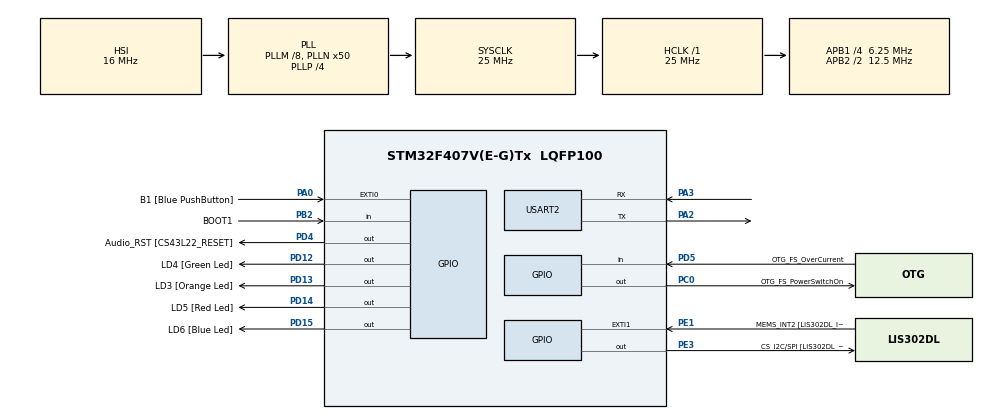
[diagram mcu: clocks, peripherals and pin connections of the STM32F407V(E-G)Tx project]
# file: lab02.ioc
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Mcu.Family=STM32F4
Mcu.Name=STM32F407V(E-G)Tx
Mcu.Package=LQFP100
NVIC.PriorityGroup=NVIC_PRIORITYGROUP_4
NVIC.TIM7_IRQn=true\:0\:0\:false\:false\:true\:false\:true\:true
NVIC.TimeBase=TIM7_IRQn
NVIC.TimeBaseIP=TIM7
PA0-WKUP.GPIO_Label=B1 [Blue PushButton]
PA0-WKUP.Signal=GPXTI0
PA10.GPIO_Label=OTG_FS_ID
PA10.GPIO_Mode=GPIO_MODE_AF_PP
PA10.GPIO_PuPd=GPIO_NOPULL
PA10.GPIO_Speed=GPIO_SPEED_FREQ_LOW
PA10.Signal=USB_OTG_FS_ID
PA11.GPIO_Label=OTG_FS_DM
PA11.GPIO_Mode=GPIO_MODE_AF_PP
PA11.GPIO_PuPd=GPIO_NOPULL
PA11.GPIO_Speed=GPIO_SPEED_FREQ_LOW
PA11.Signal=USB_OTG_FS_DM
PA12.GPIO_Label=OTG_FS_DP
PA12.GPIO_Mode=GPIO_MODE_AF_PP
PA12.GPIO_PuPd=GPIO_NOPULL
PA12.GPIO_Speed=GPIO_SPEED_FREQ_LOW
PA12.Signal=USB_OTG_FS_DP
PA13.GPIO_Label=SWDIO
PA13.Mode=Serial_Wire
PA13.Signal=SYS_JTMS-SWDIO
PA14.GPIO_Label=SWCLK
PA14.Mode=Serial_Wire
PA14.Signal=SYS_JTCK-SWCLK
PA2.Mode=Asynchronous
PA2.Signal=USART2_TX
PA3.Mode=Asynchronous
PA3.Signal=USART2_RX
PA4.GPIO_Label=I2S3_WS [CS43L22_LRCK]
PA4.GPIO_Mode=GPIO_MODE_AF_PP
PA4.GPIO_PuPd=GPIO_NOPULL
PA4.GPIO_Speed=GPIO_SPEED_FREQ_LOW
PA4.Signal=I2S3_WS
PA5.GPIO_Label=SPI1_SCK [LIS302DL_SCL/SPC]
PA5.GPIO_Mode=GPIO_MODE_AF_PP
PA5.GPIO_PuPd=GPIO_NOPULL
PA5.GPIO_Speed=GPIO_SPEED_FREQ_LOW
PA5.Signal=SPI1_SCK
PA6.GPIO_Label=SPI1_MISO [LIS302DL_SDO]
PA6.GPIO_Mode=GPIO_MODE_AF_PP
PA6.GPIO_PuPd=GPIO_NOPULL
PA6.GPIO_Speed=GPIO_SPEED_FREQ_LOW
PA6.Signal=SPI1_MISO
PA7.GPIO_Label=SPI1_MOSI [LIS302DL_SDA/SDI/SDO]
PA7.GPIO_Mode=GPIO_MODE_AF_PP
PA7.GPIO_PuPd=GPIO_NOPULL
PA7.GPIO_Speed=GPIO_SPEED_FREQ_LOW
PA7.Signal=SPI1_MOSI
PA9.GPIO_Label=VBUS_FS
PA9.GPIO_Mode=GPIO_MODE_INPUT
PA9.GPIO_PuPd=GPIO_NOPULL
PA9.Signal=USB_OTG_FS_VBUS
PB10.GPIO_Label=CLK_IN [MP45DT02_CLK]
PB10.GPIO_Mode=GPIO_MODE_AF_PP
PB10.GPIO_PuPd=GPIO_NOPULL
PB10.GPIO_Speed=GPIO_SPEED_FREQ_LOW
PB10.Signal=I2S2_CK
PB2.GPIO_Label=BOOT1
PB2.GPIO_Mode=GPIO_MODE_INPUT
PB2.GPIO_PuPd=GPIO_NOPULL
PB2.Signal=GPIO_Input
PB3.GPIO_Label=SWO
PB3.Signal=SYS_JTDO-SWO
PB6.GPIO_Label=Audio_SCL [CS43L22_SCL]
PB6.GPIO_Mode=GPIO_MODE_AF_OD
PB6.GPIO_PuPd=GPIO_NOPULL
PB6.GPIO_Speed=GPIO_SPEED_FREQ_LOW
PB6.Signal=I2C1_SCL
PB9.GPIO_Label=Audio_SDA [CS43L22_SDA]
PB9.GPIO_Mode=GPIO_MODE_AF_OD
PB9.GPIO_PuPd=GPIO_NOPULL
PB9.GPIO_Speed=GPIO_SPEED_FREQ_LOW
PB9.Signal=I2C1_SDA
PC0.GPIO_Label=OTG_FS_PowerSwitchOn
PC0.GPIO_PuPd=GPIO_NOPULL
PC0.GPIO_Speed=GPIO_SPEED_FREQ_LOW
PC0.PinState=GPIO_PIN_SET
PC0.Signal=GPIO_Output
PC10.GPIO_Label=I2S3_SCK [CS43L22_SCLK]
PC10.GPIO_Mode=GPIO_MODE_AF_PP
PC10.GPIO_PuPd=GPIO_NOPULL
PC10.GPIO_Speed=GPIO_SPEED_FREQ_LOW
PC10.Signal=I2S3_CK
PC12.GPIO_Label=I2S3_SD [CS43L22_SDIN]
PC12.GPIO_Mode=GPIO_MODE_AF_PP
PC12.GPIO_PuPd=GPIO_NOPULL
PC12.GPIO_Speed=GPIO_SPEED_FREQ_LOW
PC12.Signal=I2S3_SD
PC14-OSC32_IN.GPIO_Label=PC14-OSC32_IN
PC14-OSC32_IN.Signal=RCC_OSC32_IN
PC15-OSC32_OUT.GPIO_Label=PC15-OSC32_OUT
PC15-OSC32_OUT.Signal=RCC_OSC32_OUT
PC3.GPIO_Label=PDM_OUT [MP45DT02_DOUT]
PC3.GPIO_Mode=GPIO_MODE_AF_PP
PC3.GPIO_PuPd=GPIO_NOPULL
PC3.GPIO_Speed=GPIO_SPEED_FREQ_LOW
PC3.Signal=I2S2_SD
PC7.GPIO_Label=I2S3_MCK [CS43L22_MCLK]
PC7.GPIO_Mode=GPIO_MODE_AF_PP
PC7.GPIO_PuPd=GPIO_NOPULL
PC7.GPIO_Speed=GPIO_SPEED_FREQ_LOW
PC7.Signal=I2S3_MCK
PD12.GPIO_Label=LD4 [Green Led]
PD12.GPIO_PuPd=GPIO_NOPULL
PD12.GPIO_Speed=GPIO_SPEED_FREQ_LOW
PD12.Signal=GPIO_Output
PD13.GPIO_Label=LD3 [Orange Led]
PD13.GPIO_PuPd=GPIO_NOPULL
PD13.GPIO_Speed=GPIO_SPEED_FREQ_LOW
PD13.Signal=GPIO_Output
PD14.GPIO_Label=LD5 [Red Led]
PD14.GPIO_PuPd=GPIO_NOPULL
PD14.GPIO_Speed=GPIO_SPEED_FREQ_LOW
PD14.Signal=GPIO_Output
PD15.GPIO_Label=LD6 [Blue Led]
PD15.GPIO_PuPd=GPIO_NOPULL
PD15.GPIO_Speed=GPIO_SPEED_FREQ_LOW
PD15.Signal=GPIO_Output
PD4.GPIO_Label=Audio_RST [CS43L22_RESET]
PD4.GPIO_PuPd=GPIO_NOPULL
PD4.GPIO_Speed=GPIO_SPEED_FREQ_LOW
PD4.Signal=GPIO_Output
PD5.GPIO_Label=OTG_FS_OverCurrent
PD5.GPIO_Mode=GPIO_MODE_INPUT
PD5.GPIO_PuPd=GPIO_NOPULL
PD5.Signal=GPIO_Input
PE1.GPIO_Label=MEMS_INT2 [LIS302DL_INT2]
PE1.GPIO_ModeDefaultEXTI=GPIO_MODE_EVT_RISING
PE1.GPIO_PuPd=GPIO_NOPULL
PE1.Signal=GPXTI1
PE3.GPIO_Label=CS_I2C/SPI [LIS302DL_CS_I2C/SPI]
PE3.GPIO_PuPd=GPIO_NOPULL
PE3.GPIO_Speed=GPIO_SPEED_FREQ_LOW
PE3.Signal=GPIO_Output
PH0-OSC_IN.GPIO_Label=PH0-OSC_IN
PH0-OSC_IN.Signal=RCC_OSC_IN
PH1-OSC_OUT.GPIO_Label=PH1-OSC_OUT
PH1-OSC_OUT.Signal=RCC_OSC_OUT
ProjectManager.HeapSize=0x200
ProjectManager.StackSize=0x400
ProjectManager.TargetToolchain=STM32CubeIDE
RCC.48MHZClocksFreq_Value=14285714.285714285
RCC.AHBFreq_Value=25000000
RCC.APB1CLKDivider=RCC_HCLK_DIV4
RCC.APB1Freq_Value=6250000
RCC.APB1TimFreq_Value=12500000
RCC.APB2CLKDivider=RCC_HCLK_DIV2
RCC.APB2Freq_Value=12500000
RCC.APB2TimFreq_Value=25000000
RCC.CortexFreq_Value=25000000
RCC.HCLKFreq_Value=25000000
RCC.HSE_VALUE=8000000
RCC.HSI_VALUE=16000000
RCC.LSE_VALUE=32768
RCC.PLLM=8
RCC.PLLN=50
RCC.PLLP=RCC_PLLP_DIV4
RCC.PLLQ=7
RCC.SYSCLKFreq_VALUE=25000000
RCC.SYSCLKSource=RCC_SYSCLKSOURCE_PLLCLK
RCC.VCOOutputFreq_Value=100000000
USART2.VirtualMode=VM_ASYNC
VP_SYS_VS_tim7.Mode=TIM7
board=STM32F407G-DISC1

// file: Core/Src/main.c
/* USER CODE BEGIN Header */
/**
  ******************************************************************************
  * @file           : main.c
  * @brief          : Main program body
  ******************************************************************************
  * @attention
  *
  * Copyright (c) 2024 STMicroelectronics.
  * All rights reserved.
  *
  * This software is licensed under terms that can be found in the LICENSE file
  * in the root directory of this software component.
  * If no LICENSE file comes with this software, it is provided AS-IS.
  *
  ******************************************************************************
  */
/* USER CODE END Header */
#include "main.h"

/* USER CODE BEGIN Includes */
#include "FreeRTOS.h"
#include "task.h"

#include "stdio.h"
#include "stdlib.h"
#include "string.h"
/* USER CODE END Includes */

UART_HandleTypeDef huart2;

void SystemClock_Config(void);
static void MX_GPIO_Init(void);
static void MX_USART2_UART_Init(void);

/* USER CODE BEGIN 0 */
BaseType_t xReturned;
TaskHandle_t xHandle=NULL;
//QueueHandle_t MsgQueue = NULL;
void TaskMonitor_App(void *pvParameters){
for(;;){
	Taskmonitor();
	vTaskDelay(2000);
	}
}
void Red_LED_App(void *pvParameters){
	uint32_t Redtimer =800;
	for(;;){
		HAL_GPIO_TogglePin(GPIOD,Red_LED_App);
		vTaskDelay(Redtimer);
		Redtimer+=1;
	}
}
void Green_LED_App(void *pvParameters){
	uint32_t Greentimer =1000;
	for(;;){
		HAL_GPIO_TogglePin(GPIOD,Green_LED_App);
		vTaskDelay(Greentimer);
		Greentimer+=2;
	}
}
void Delay_App(void *pvParameters){
	int delayflag=0;
	uint32_t delaytime;
	while(1){
	if(delayflag==0){
		delaytime =1000;
		delayflag=1;
		}else{
		delaytime=0xFFFFFFFF;
	}
	vTaskDelay(delaytime);
	}
}
//void USART_Test(void *pvParameters){
//	uint32_t Monitortimer = 400;
//	char MonitorTset[30];
//	char num[15];
//	int i = 0;
//	while(1){
//		memset(MonitorTset,'\0',sizeof(MonitorTset));
//		memset(num,'\0',sizeof(num));
//		itoa(i,num,10);
//		strcat(num," ");
//		sprintf(MonitorTset,"The point is %s\n\r",num);
//		HAL_UART_Transmit(&huart2,(uint8_t *)MonitorTset,strlen(MonitorTset),0xffff);
//		vTaskDelay(Monitortimer);
//		Monitortimer += 1;
//		i += 1;
//	}
//}
/* USER CODE END 0 */

int main(void)
{

  /* MCU Configuration--------------------------------------------------------*/

  /* Reset of all peripherals, Initializes the Flash interface and the Systick. */
  HAL_Init();

  /* Configure the system clock */
  SystemClock_Config();

  /* Initialize all configured peripherals */
  MX_GPIO_Init();
  MX_USART2_UART_Init();
  /* USER CODE BEGIN 2 */
  TaskHandle_t xHandle = NULL;
  /* USER CODE BEGIN 2 */
//  MsgQueue = xQueueCreate(1,sizeof(unsigned int));

  //  xTaskCreate(USART_Test,"USART_Test",1024, NULL,14,&xHandle);

  xTaskCreate(TaskMonitor_App,"TaskMonitor_App",512,NULL,3,&xHandle);
  xTaskCreate(Red_LED_App,"Red_LED_App",128,NULL,1,&xHandle);
  xTaskCreate(Green_LED_App,"Green_LED_App",128,NULL,1,&xHandle);
  xTaskCreate(Delay_App,"Delay_App",128,NULL,14,&xHandle);

  vTaskStartScheduler();

  /* USER CODE END 2 */

  /* Infinite loop */
  while (1)
  {

  }
}

void SystemClock_Config(void)
{
  RCC_OscInitTypeDef RCC_OscInitStruct = {0};
  RCC_ClkInitTypeDef RCC_ClkInitStruct = {0};

  /** Configure the main internal regulator output voltage
  */
  __HAL_RCC_PWR_CLK_ENABLE();
  __HAL_PWR_VOLTAGESCALING_CONFIG(PWR_REGULATOR_VOLTAGE_SCALE1);

  /** Initializes the RCC Oscillators according to the specified parameters
  * in the RCC_OscInitTypeDef structure.
  */
  RCC_OscInitStruct.OscillatorType = RCC_OSCILLATORTYPE_HSI;
  RCC_OscInitStruct.HSIState = RCC_HSI_ON;
  RCC_OscInitStruct.HSICalibrationValue = RCC_HSICALIBRATION_DEFAULT;
  RCC_OscInitStruct.PLL.PLLState = RCC_PLL_ON;
  RCC_OscInitStruct.PLL.PLLSource = RCC_PLLSOURCE_HSI;
  RCC_OscInitStruct.PLL.PLLM = 8;
  RCC_OscInitStruct.PLL.PLLN = 50;
  RCC_OscInitStruct.PLL.PLLP = RCC_PLLP_DIV4;
  RCC_OscInitStruct.PLL.PLLQ = 7;
  if (HAL_RCC_OscConfig(&RCC_OscInitStruct) != HAL_OK)
  {
    Error_Handler();
  }

  /** Initializes the CPU, AHB and APB buses clocks
  */
  RCC_ClkInitStruct.ClockType = RCC_CLOCKTYPE_HCLK|RCC_CLOCKTYPE_SYSCLK
                              |RCC_CLOCKTYPE_PCLK1|RCC_CLOCKTYPE_PCLK2;
  RCC_ClkInitStruct.SYSCLKSource = RCC_SYSCLKSOURCE_PLLCLK;
  RCC_ClkInitStruct.AHBCLKDivider = RCC_SYSCLK_DIV1;
  RCC_ClkInitStruct.APB1CLKDivider = RCC_HCLK_DIV4;
  RCC_ClkInitStruct.APB2CLKDivider = RCC_HCLK_DIV2;

  if (HAL_RCC_ClockConfig(&RCC_ClkInitStruct, FLASH_LATENCY_0) != HAL_OK)
  {
    Error_Handler();
  }
}

static void MX_USART2_UART_Init(void)
{

  huart2.Instance = USART2;
  huart2.Init.BaudRate = 115200;
  huart2.Init.WordLength = UART_WORDLENGTH_8B;
  huart2.Init.StopBits = UART_STOPBITS_1;
  huart2.Init.Parity = UART_PARITY_NONE;
  huart2.Init.Mode = UART_MODE_TX_RX;
  huart2.Init.HwFlowCtl = UART_HWCONTROL_NONE;
  huart2.Init.OverSampling = UART_OVERSAMPLING_16;
  if (HAL_UART_Init(&huart2) != HAL_OK)
  {
    Error_Handler();
  }

}

static void MX_GPIO_Init(void)
{
  GPIO_InitTypeDef GPIO_InitStruct = {0};

  /* GPIO Ports Clock Enable */
  __HAL_RCC_GPIOE_CLK_ENABLE();
  __HAL_RCC_GPIOC_CLK_ENABLE();
  __HAL_RCC_GPIOH_CLK_ENABLE();
  __HAL_RCC_GPIOA_CLK_ENABLE();
  __HAL_RCC_GPIOB_CLK_ENABLE();
  __HAL_RCC_GPIOD_CLK_ENABLE();

  /*Configure GPIO pin Output Level */
  HAL_GPIO_WritePin(CS_I2C_SPI_GPIO_Port, CS_I2C_SPI_Pin, GPIO_PIN_RESET);

  /*Configure GPIO pin Output Level */
  HAL_GPIO_WritePin(OTG_FS_PowerSwitchOn_GPIO_Port, OTG_FS_PowerSwitchOn_Pin, GPIO_PIN_SET);

  /*Configure GPIO pin Output Level */
  HAL_GPIO_WritePin(GPIOD, LD4_Pin|LD3_Pin|LD5_Pin|LD6_Pin
                          |Audio_RST_Pin, GPIO_PIN_RESET);

  /*Configure GPIO pin : CS_I2C_SPI_Pin */
  GPIO_InitStruct.Pin = CS_I2C_SPI_Pin;
  GPIO_InitStruct.Mode = GPIO_MODE_OUTPUT_PP;
  GPIO_InitStruct.Pull = GPIO_NOPULL;
  GPIO_InitStruct.Speed = GPIO_SPEED_FREQ_LOW;
  HAL_GPIO_Init(CS_I2C_SPI_GPIO_Port, &GPIO_InitStruct);

  /*Configure GPIO pin : OTG_FS_PowerSwitchOn_Pin */
  GPIO_InitStruct.Pin = OTG_FS_PowerSwitchOn_Pin;
  GPIO_InitStruct.Mode = GPIO_MODE_OUTPUT_PP;
  GPIO_InitStruct.Pull = GPIO_NOPULL;
  GPIO_InitStruct.Speed = GPIO_SPEED_FREQ_LOW;
  HAL_GPIO_Init(OTG_FS_PowerSwitchOn_GPIO_Port, &GPIO_InitStruct);

  /*Configure GPIO pin : PDM_OUT_Pin */
  GPIO_InitStruct.Pin = PDM_OUT_Pin;
  GPIO_InitStruct.Mode = GPIO_MODE_AF_PP;
  GPIO_InitStruct.Pull = GPIO_NOPULL;
  GPIO_InitStruct.Speed = GPIO_SPEED_FREQ_LOW;
  GPIO_InitStruct.Alternate = GPIO_AF5_SPI2;
  HAL_GPIO_Init(PDM_OUT_GPIO_Port, &GPIO_InitStruct);

  /*Configure GPIO pin : B1_Pin */
  GPIO_InitStruct.Pin = B1_Pin;
  GPIO_InitStruct.Mode = GPIO_MODE_IT_RISING;
  GPIO_InitStruct.Pull = GPIO_NOPULL;
  HAL_GPIO_Init(B1_GPIO_Port, &GPIO_InitStruct);

  /*Configure GPIO pin : I2S3_WS_Pin */
  GPIO_InitStruct.Pin = I2S3_WS_Pin;
  GPIO_InitStruct.Mode = GPIO_MODE_AF_PP;
  GPIO_InitStruct.Pull = GPIO_NOPULL;
  GPIO_InitStruct.Speed = GPIO_SPEED_FREQ_LOW;
  GPIO_InitStruct.Alternate = GPIO_AF6_SPI3;
  HAL_GPIO_Init(I2S3_WS_GPIO_Port, &GPIO_InitStruct);

  /*Configure GPIO pins : SPI1_SCK_Pin SPI1_MISO_Pin SPI1_MOSI_Pin */
  GPIO_InitStruct.Pin = SPI1_SCK_Pin|SPI1_MISO_Pin|SPI1_MOSI_Pin;
  GPIO_InitStruct.Mode = GPIO_MODE_AF_PP;
  GPIO_InitStruct.Pull = GPIO_NOPULL;
  GPIO_InitStruct.Speed = GPIO_SPEED_FREQ_LOW;
  GPIO_InitStruct.Alternate = GPIO_AF5_SPI1;
  HAL_GPIO_Init(GPIOA, &GPIO_InitStruct);

  /*Configure GPIO pin : BOOT1_Pin */
  GPIO_InitStruct.Pin = BOOT1_Pin;
  GPIO_InitStruct.Mode = GPIO_MODE_INPUT;
  GPIO_InitStruct.Pull = GPIO_NOPULL;
  HAL_GPIO_Init(BOOT1_GPIO_Port, &GPIO_InitStruct);

  /*Configure GPIO pin : CLK_IN_Pin */
  GPIO_InitStruct.Pin = CLK_IN_Pin;
  GPIO_InitStruct.Mode = GPIO_MODE_AF_PP;
  GPIO_InitStruct.Pull = GPIO_NOPULL;
  GPIO_InitStruct.Speed = GPIO_SPEED_FREQ_LOW;
  GPIO_InitStruct.Alternate = GPIO_AF5_SPI2;
  HAL_GPIO_Init(CLK_IN_GPIO_Port, &GPIO_InitStruct);

  /*Configure GPIO pins : LD4_Pin LD3_Pin LD5_Pin LD6_Pin
                           Audio_RST_Pin */
  GPIO_InitStruct.Pin = LD4_Pin|LD3_Pin|LD5_Pin|LD6_Pin
                          |Audio_RST_Pin;
  GPIO_InitStruct.Mode = GPIO_MODE_OUTPUT_PP;
  GPIO_InitStruct.Pull = GPIO_NOPULL;
  GPIO_InitStruct.Speed = GPIO_SPEED_FREQ_LOW;
  HAL_GPIO_Init(GPIOD, &GPIO_InitStruct);

  /*Configure GPIO pins : I2S3_MCK_Pin I2S3_SCK_Pin I2S3_SD_Pin */
  GPIO_InitStruct.Pin = I2S3_MCK_Pin|I2S3_SCK_Pin|I2S3_SD_Pin;
  GPIO_InitStruct.Mode = GPIO_MODE_AF_PP;
  GPIO_InitStruct.Pull = GPIO_NOPULL;
  GPIO_InitStruct.Speed = GPIO_SPEED_FREQ_LOW;
  GPIO_InitStruct.Alternate = GPIO_AF6_SPI3;
  HAL_GPIO_Init(GPIOC, &GPIO_InitStruct);

  /*Configure GPIO pin : VBUS_FS_Pin */
  GPIO_InitStruct.Pin = VBUS_FS_Pin;
  GPIO_InitStruct.Mode = GPIO_MODE_INPUT;
  GPIO_InitStruct.Pull = GPIO_NOPULL;
  HAL_GPIO_Init(VBUS_FS_GPIO_Port, &GPIO_InitStruct);

  /*Configure GPIO pins : OTG_FS_ID_Pin OTG_FS_DM_Pin OTG_FS_DP_Pin */
  GPIO_InitStruct.Pin = OTG_FS_ID_Pin|OTG_FS_DM_Pin|OTG_FS_DP_Pin;
  GPIO_InitStruct.Mode = GPIO_MODE_AF_PP;
  GPIO_InitStruct.Pull = GPIO_NOPULL;
  GPIO_InitStruct.Speed = GPIO_SPEED_FREQ_LOW;
  GPIO_InitStruct.Alternate = GPIO_AF10_OTG_FS;
  HAL_GPIO_Init(GPIOA, &GPIO_InitStruct);

  /*Configure GPIO pin : OTG_FS_OverCurrent_Pin */
  GPIO_InitStruct.Pin = OTG_FS_OverCurrent_Pin;
  GPIO_InitStruct.Mode = GPIO_MODE_INPUT;
  GPIO_InitStruct.Pull = GPIO_NOPULL;
  HAL_GPIO_Init(OTG_FS_OverCurrent_GPIO_Port, &GPIO_InitStruct);

  /*Configure GPIO pins : Audio_SCL_Pin Audio_SDA_Pin */
  GPIO_InitStruct.Pin = Audio_SCL_Pin|Audio_SDA_Pin;
  GPIO_InitStruct.Mode = GPIO_MODE_AF_OD;
  GPIO_InitStruct.Pull = GPIO_NOPULL;
  GPIO_InitStruct.Speed = GPIO_SPEED_FREQ_LOW;
  GPIO_InitStruct.Alternate = GPIO_AF4_I2C1;
  HAL_GPIO_Init(GPIOB, &GPIO_InitStruct);

  /*Configure GPIO pin : MEMS_INT2_Pin */
  GPIO_InitStruct.Pin = MEMS_INT2_Pin;
  GPIO_InitStruct.Mode = GPIO_MODE_EVT_RISING;
  GPIO_InitStruct.Pull = GPIO_NOPULL;
  HAL_GPIO_Init(MEMS_INT2_GPIO_Port, &GPIO_InitStruct);

}

void HAL_TIM_PeriodElapsedCallback(TIM_HandleTypeDef *htim)
{
  if (htim->Instance == TIM7) {
    HAL_IncTick();
  }
}

void Error_Handler(void)
{
  __disable_irq();
  while (1)
  {
  }
}
